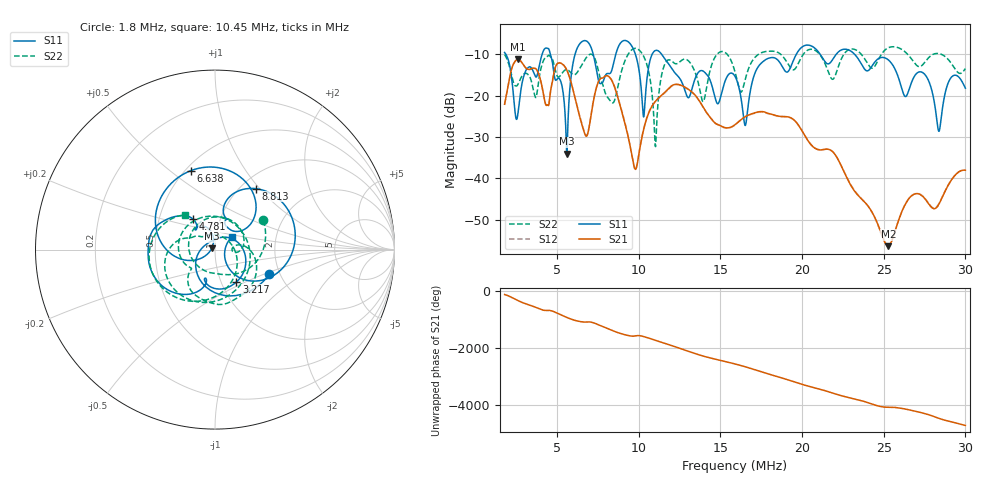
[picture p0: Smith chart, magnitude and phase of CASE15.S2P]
!Agilent Technologies,E5061B,MY49101568,A.02.00
!Date: Wed Mar 01 16:36:34 2023
!Data & Calibration Information:
!Freq	S11:SOLT2(OFF)	S21:SOLT2(OFF)	S12:SOLT2(OFF)	S22:SOLT2(OFF)
# Hz S dB R 50
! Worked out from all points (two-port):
!   1155 points, 1.8 MHz to 30 MHz, reference 50 ohm
!   highest |S21| = -11.23 dB at 2.631 MHz (marker M1); lowest = -56.4 dB at 25.28 MHz (marker M2)
!   |S21| within 3 dB of the highest: 2.181 MHz to 3.831 MHz (1.65 MHz wide, 54.9 % of centre); 4.829 MHz to 5.652 MHz (822.8 kHz wide, 15.7 % of centre)
!   lowest |S11| = -34.1 dB at 5.612 MHz (marker M3), VSWR 1.04, Z = 48.1 + j0.592 ohm
!   |S11| at or under -10 dB: 1.872 MHz to 4.095 MHz (2.223 MHz wide, 74.5 % of centre); 11.41 MHz to 19.65 MHz (8.246 MHz wide, 53.1 % of centre); 23.22 MHz to end of sweep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
!   |S22| runs from -32.3 to -8.2 dB; largest |S21 - S12| = 0.0032
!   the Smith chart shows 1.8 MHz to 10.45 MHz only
!   S11 on the Smith chart (normalised r, x): 1.8 MHz: 1.76, -0.54; 3.217 MHz: 1.18, -0.45; 4.781 MHz: 0.74, +0.27; 6.638 MHz: 0.53, +0.60; 8.813 MHz: 1.17, +0.95; 10.45 MHz: 1.20, +0.18
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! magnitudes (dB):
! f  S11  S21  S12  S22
! 1.8 MHz  -9.6  -22.1  -22.1  -10.1
! 2.631 MHz  -23.9  -11.2  -11.2  -17.2
! 3.217 MHz  -13.3  -13.6  -13.7  -14.8
! 4.781 MHz  -13.5  -15.3  -15.2  -11.8
! 5.612 MHz  -34.1  -13.9  -13.9  -13.7
! 6.516 MHz  -7.0  -26.8  -26.6  -12.6
! 6.638 MHz  -6.7  -28.5  -28.2  -11.8
! 7.689 MHz  -17.1  -15.8  -15.8  -16.3
! 8.813 MHz  -7.8  -21.6  -21.4  -16.3
! 9.791 MHz  -9.8  -37.8  -37.9  -8.6
! 10.45 MHz  -18.4  -26.1  -25.9  -11.8
! 10.99 MHz  -9.2  -21.6  -21.6  -30.0
! 11.21 MHz  -9.2  -20.6  -20.7  -20.8
! 11.82 MHz  -12.2  -18.3  -18.5  -11.4
! 15.9 MHz  -15.3  -27.0  -27.1  -14.3
! 16.54 MHz  -27.2  -25.1  -25.1  -16.0
! 17.44 MHz  -12.4  -23.9  -24.0  -9.8
! 20.62 MHz  -8.1  -32.2  -32.1  -8.8
! 25.28 MHz  -11.4  -56.4  -56.4  -8.4
! 25.31 MHz  -11.5  -56.3  -56.4  -8.4
! 28.36 MHz  -28.6  -46.3  -46.3  -9.8
! 30 MHz  -18.2  -38.0  -38.0  -13.5
